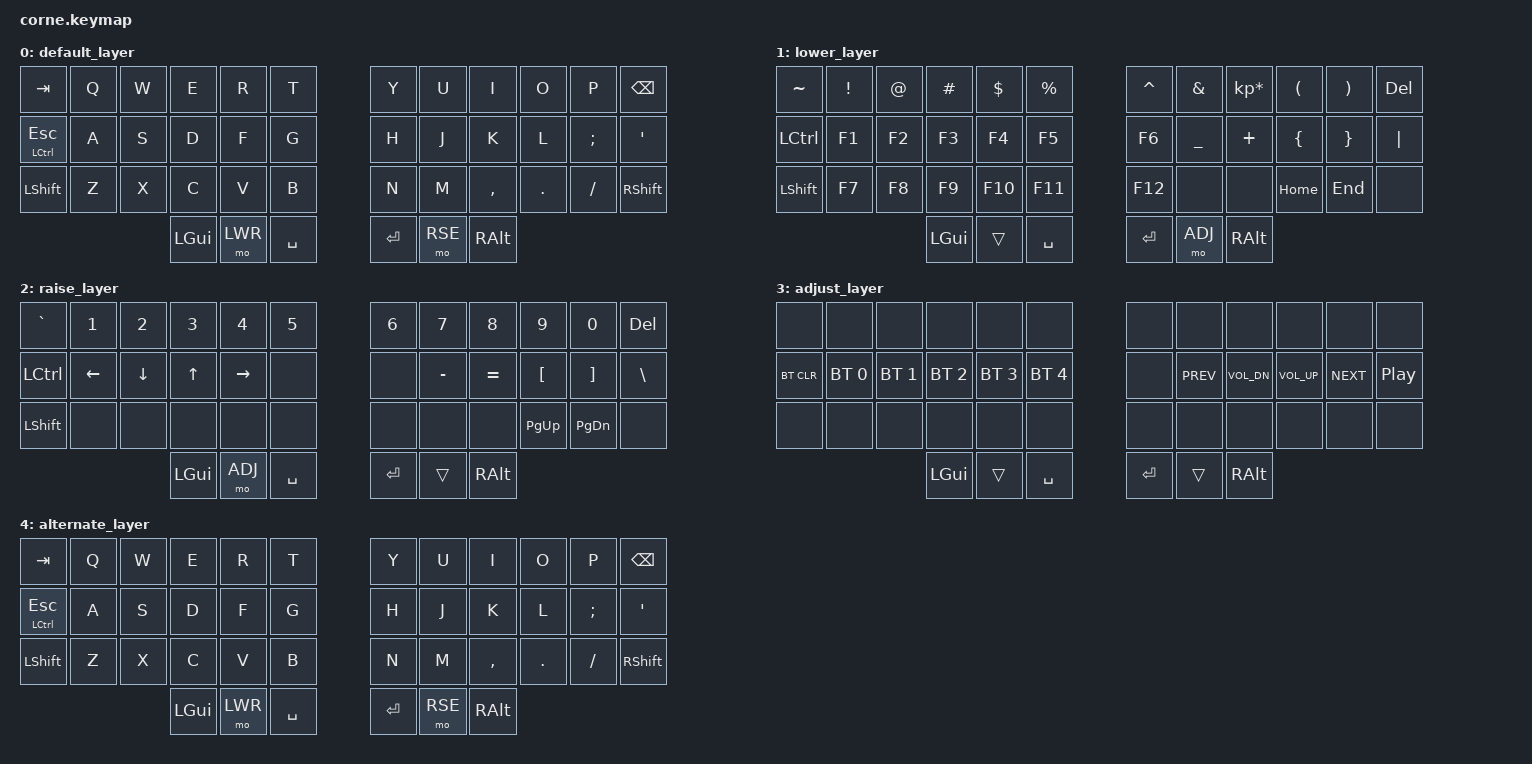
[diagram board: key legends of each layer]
/*
 * Copyright (c) 2020 The ZMK Contributors
 *
 * SPDX-License-Identifier: MIT
 */

#include <behaviors.dtsi>
#include <dt-bindings/zmk/keys.h>
#include <dt-bindings/zmk/bt.h>

#define DEFAULT 0
#define LWR  1
#define RSE  2
#define ADJ  3

#define NXT C_NEXT
#define PRV C_PREV
#define VUP C_VOL_UP
#define VDN C_VOL_DN
#define PLY C_PP

/ {
        keymap {
                compatible = "zmk,keymap";

                default_layer {
// -----------------------------------------------------------------------------------------
// |  TAB |  Q  |  W  |  E  |  R  |  T  |   |  Y  |  U   |  I  |  O  |  P  | BKSP |
// |CTLESC|  A  |  S  |  D  |  F  |  G  |   |  H  |  J   |  K  |  L  |  ;  |  '   |
// | SHFT |  Z  |  X  |  C  |  V  |  B  |   |  N  |  M   |  ,  |  .  |  /  | SHFT |
//                    | GUI | LWR | SPC |   | ENT | RSE  | ALT |
                        bindings = <
   &kp TAB       &kp Q &kp W &kp E &kp R &kp T    &kp Y &kp U &kp I     &kp O   &kp P    &kp BSPC
   &mt LCTRL ESC &kp A &kp S &kp D &kp F &kp G    &kp H &kp J &kp K     &kp L   &kp SEMI &kp SQT
   &kp LSHFT     &kp Z &kp X &kp C &kp V &kp B    &kp N &kp M &kp COMMA &kp DOT &kp FSLH &kp RSHFT
                    &kp LGUI &mo LWR &kp SPACE    &kp RET &mo RSE &kp RALT
                        >;
                };
                lower_layer {
// -----------------------------------------------------------------------------------------
// |   ~  |  !  |  @  |  #  |  $  |  %  |   |  ^  |  &  |  *  |  (  |  )  | DEL |
// | CTRL |  F1 | F2  | F3  | F4  | F5  |   | F6  |  _  |  +  |  {  |  }  |  |  |
// | SHFT |  F7 | F8  | F9  | F10 | F11 |   | F12 |     |     |HOME |  END|     | 
//                    | GUI |     | SPC |   | ENT | ADJ | ALT |
                        bindings = <
   &kp TILDE  &kp EXCL &kp AT &kp HASH &kp DLLR  &kp PRCNT     &kp CARET &kp AMPS  &kp KP_MULTIPLY &kp LPAR &kp RPAR &kp DEL
   &kp LCTRL  &kp F1   &kp F2 &kp F3   &kp F4    &kp F5        &kp F6    &kp UNDER &kp PLUS        &kp LBRC &kp RBRC &kp PIPE
   &kp LSHFT  &kp F7   &kp F8 &kp F9   &kp F10   &kp F11       &kp F12   &none     &none           &kp HOME &kp END  &none
                                &kp LGUI &trans &kp SPACE      &kp RET &mo ADJ &kp RALT
                        >;
                };
                raise_layer {
// -----------------------------------------------------------------------------------------
// |  `   |  1  |  2  |  3  |  4  |  5  |   |  6  |  7  |  8  |  9  |  0  | DEL |
// | CTRL |LEFT | DOWN| UP  |RIGHT|     |   |     |  -  |  =  |  [  |  ]  |  \  |
// | SHFT |     |     |     |     |     |   |     |     |     |PGUP |PGDWN|     |
//                    | GUI | ADJ | SPC |   | ENT |     | ALT |
                        bindings = <
   &kp GRAVE &kp N1   &kp N2   &kp N3 &kp N4    &kp N5      &kp N6    &kp N7    &kp N8    &kp N9    &kp N0    &kp DEL
   &kp LCTRL &kp LEFT &kp DOWN &kp UP &kp RIGHT &none       &none     &kp MINUS &kp EQUAL &kp LBKT  &kp RBKT  &kp BSLH
   &kp LSHFT &none    &none    &none  &none     &none       &none     &none     &none     &kp PG_UP &kp PG_DN &none 
                            &kp LGUI &mo ADJ &kp SPACE      &kp RET &trans &kp RALT
                        >;
                };
                adjust_layer {
// -----------------------------------------------------------------------------------------
// |     |     |     |     |     |     |   |     |     |     |     |     |     |
// |CLEAR| BT1 | BT2 | BT3 | BT4 | BT5 |   |     | PRV | VDN | VUP | NXT | PLY |
// |     |     |     |     |     |     |   |     |     |     |     |     |     |
//                   | GUI |     | SPC |   | ENT |     | ALT |
                        bindings = <
   &none      &none        &none        &none        &none        &none           &none &none   &none   &none   &none   &none 
   &bt BT_CLR &bt BT_SEL 0 &bt BT_SEL 1 &bt BT_SEL 2 &bt BT_SEL 3 &bt BT_SEL 4    &none &kp PRV &kp VDN &kp VUP &kp NXT &kp PLY
   &none      &none      &none          &none        &none        &none           &none &none   &none   &none   &none   &none 
                                        &kp LGUI     &trans       &kp SPACE       &kp RET &trans &kp RALT
                        >;
                };
                alternate_layer {
// -----------------------------------------------------------------------------------------
// |  TAB |  Q  |  W  |  E  |  R  |  T  |   |  Y  |  U   |  I  |  O  |  P  | BKSP |
// |CTLESC|  A  |  S  |  D  |  F  |  G  |   |  H  |  J   |  K  |  L  |  ;  |  '   |
// | SHFT |  Z  |  X  |  C  |  V  |  B  |   |  N  |  M   |  ,  |  .  |  /  | SHFT |
//                    | GUI | LWR | SPC |   | ENT | RSE  | ALT |
                        bindings = <
   &kp TAB       &kp Q &kp W &kp E &kp R &kp T    &kp Y &kp U &kp I     &kp O   &kp P    &kp BSPC
   &mt LCTRL ESC &kp A &kp S &kp D &kp F &kp G    &kp H &kp J &kp K     &kp L   &kp SEMI &kp SQT
   &kp LSHFT     &kp Z &kp X &kp C &kp V &kp B    &kp N &kp M &kp COMMA &kp DOT &kp FSLH &kp RSHFT
                    &kp LGUI &mo LWR &kp SPACE    &kp RET &mo RSE &kp RALT
                        >;
                };

        };
};
